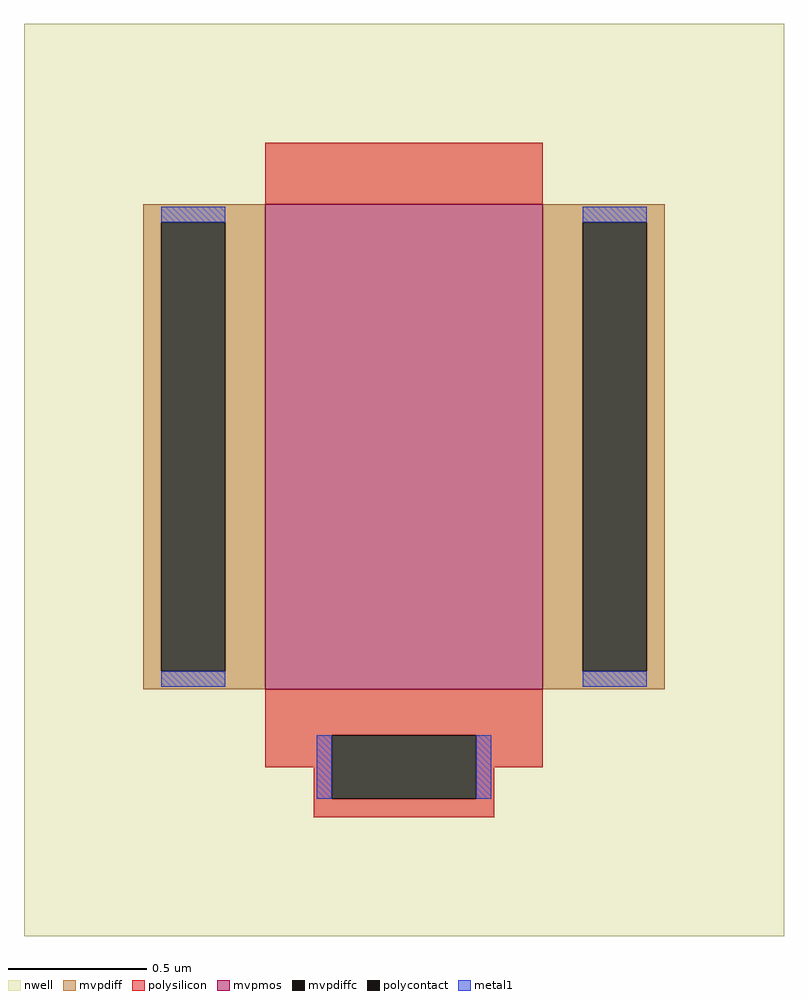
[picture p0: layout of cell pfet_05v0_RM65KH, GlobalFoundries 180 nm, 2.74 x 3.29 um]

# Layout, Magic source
magic
tech gf180mcuD
magscale 1 10
<< nwell >>
rect -274 -329 274 329
<< mvpmos >>
rect -100 -151 100 199
<< mvpdiff >>
rect -188 186 -100 199
rect -188 -138 -175 186
rect -129 -138 -100 186
rect -188 -151 -100 -138
rect 100 186 188 199
rect 100 -138 129 186
rect 175 -138 188 186
rect 100 -151 188 -138
<< mvpdiffc >>
rect -175 -138 -129 186
rect 129 -138 175 186
<< polysilicon >>
rect -100 199 100 243
rect -100 -184 100 -151
rect -100 -207 -52 -184
rect -65 -230 -52 -207
rect 52 -207 100 -184
rect 52 -230 65 -207
rect -65 -243 65 -230
<< polycontact >>
rect -52 -230 52 -184
<< metal1 >>
rect -175 186 -129 197
rect -175 -149 -129 -138
rect 129 186 175 197
rect 129 -149 175 -138
rect -63 -230 -52 -184
rect 52 -230 63 -184
<< properties >>
string gencell pfet_05v0
string library gf180mcu
string parameters w 1.75 l 1 m 1 nf 1 diffcov 100 polycov 60 guard 0 glc 1 grc 1 gtc 0 gbc 0 tbcov 100 rlcov 100 topc 0 botc 1 poverlap 0 doverlap 1 lmin 0.5 wmin 0.3 class mosfet full_metal 1 compatible {pfet_03v3 pfet_05v0 pfet_06v0}
<< end >>
